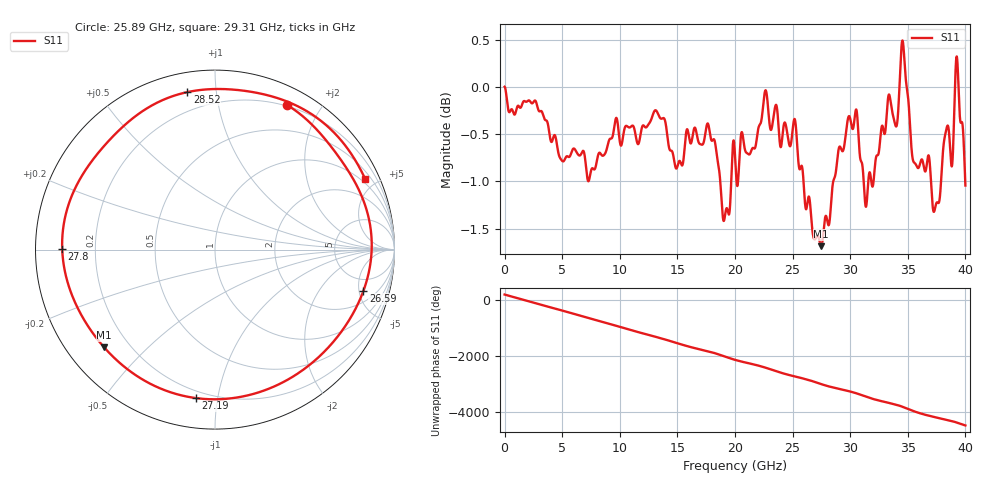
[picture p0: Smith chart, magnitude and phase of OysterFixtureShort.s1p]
# MHz MA S R 50.0
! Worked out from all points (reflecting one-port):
!   8000 points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, 5 MHz to 40 GHz, reference 50 ohm
!   lowest |S11| = -1.7 dB at 27.48 GHz (marker M1), VSWR 10.33, Z = 5.53 - j18.7 ohm
!   phase of S11 starts at 179 deg and turns -4674 deg over the sweep
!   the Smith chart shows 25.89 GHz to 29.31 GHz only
!   S11 on the Smith chart (normalised r, x): 25.89 GHz: 0.19, +1.59; 26.59 GHz: 3.16, -5.54; 27.19 GHz: 0.16, -0.87; 27.8 GHz: 0.08, +0.00; 28.52 GHz: 0.10, +0.83; 29.31 GHz: 0.80, +4.35
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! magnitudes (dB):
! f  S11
! 5 MHz  0.0
! 5.005 GHz  -0.8
! 10.01 GHz  -0.6
! 13.15 GHz  -0.2
! 15.01 GHz  -0.8
! 17.66 GHz  -0.4
! 19.09 GHz  -1.4
! 20 GHz  -0.7
! 22.64 GHz  0.0
! 25 GHz  -0.5
! 25.89 GHz  -0.9
! 26.59 GHz  -1.3
! 27.19 GHz  -1.6
! 27.48 GHz  -1.7
! 27.8 GHz  -1.4
! 28.52 GHz  -1.0
! 29.31 GHz  -0.7
! 30 GHz  -0.3
! 31.38 GHz  -1.3
! 33.35 GHz  -0.1
! 34.02 GHz  -0.4
! 34.52 GHz  0.5
! 35.01 GHz  -0.1
! 37.34 GHz  -1.3
! 38.33 GHz  -0.5
! 38.83 GHz  -0.8
! 39.27 GHz  0.3
! 40 GHz  -1.0
